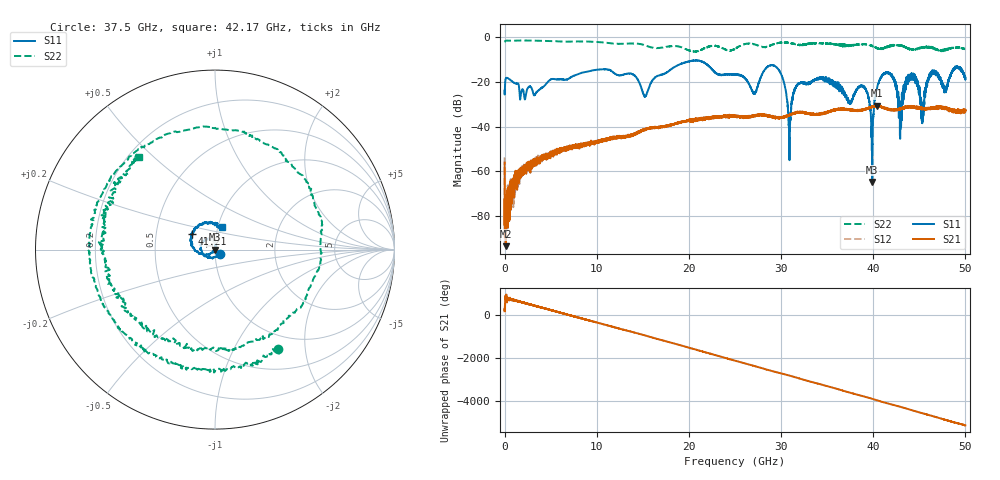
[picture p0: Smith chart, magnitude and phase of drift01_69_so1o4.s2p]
!Created with skrf (http://scikit-rf.org).
# Hz S RI R 50.0
!freq ReS11 ImS11 ReS21 ImS21 ReS12 ImS12 ReS22 ImS22
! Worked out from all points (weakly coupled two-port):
!   10001 points, 300 kHz to 50 GHz, reference 50 ohm
!   highest |S21| = -30.57 dB at 40.36 GHz (marker M1); lowest = -93.7 dB at 145.3 MHz (marker M2)
!   lowest |S11| = -64.9 dB at 39.89 GHz (marker M3), VSWR 1.00, Z = 50.1 + j0.00248 ohm
!   |S11| at or under -10 dB: start of sweep to end of sweep
!   |S22| runs from -6.4 to -1.4 dB; largest |S21 - S12| = 0.0037
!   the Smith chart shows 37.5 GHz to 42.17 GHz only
!   S11 on the Smith chart (normalised r, x): 37.5 GHz: 1.05, -0.05; 41.21 GHz: 0.76, +0.14; 42.17 GHz: 1.05, +0.27
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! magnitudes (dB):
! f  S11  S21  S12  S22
! 300 kHz  -23.8  -56.2  -53.8  -2.1
! 145.3 MHz  -18.3  -93.7  -71.7  -1.5
! 8.335 GHz  -15.9  -48.8  -48.1  -1.8
! 16.67 GHz  -17.1  -40.4  -40.2  -4.8
! 25 GHz  -16.6  -35.4  -35.4  -5.0
! 27.1 GHz  -25.2  -35.1  -35.0  -3.1
! 29.45 GHz  -13.2  -35.8  -36.2  -2.7
! 30.91 GHz  -55.1  -34.8  -34.9  -2.5
! 31.69 GHz  -21.5  -33.6  -33.7  -3.2
! 33.34 GHz  -19.8  -34.6  -34.3  -2.7
! 37.5 GHz  -29.2  -32.4  -32.4  -3.7
! 38.99 GHz  -22.1  -32.4  -32.4  -3.1
! 39.89 GHz  -64.9  -31.4  -31.1  -3.8
! 40.36 GHz  -23.6  -30.6  -30.8  -4.6
! 41.21 GHz  -16.1  -31.6  -31.9  -4.6
! 41.67 GHz  -15.8  -32.2  -32.6  -4.1
! 42.17 GHz  -17.6  -32.6  -32.5  -3.5
! 42.96 GHz  -34.2  -32.3  -31.9  -3.6
! 44.04 GHz  -17.4  -31.3  -31.0  -5.2
! 45.31 GHz  -37.8  -31.8  -31.9  -4.5
! 46.42 GHz  -15.1  -31.6  -31.6  -4.9
! 50 GHz  -18.1  -32.6  -32.6  -5.2
